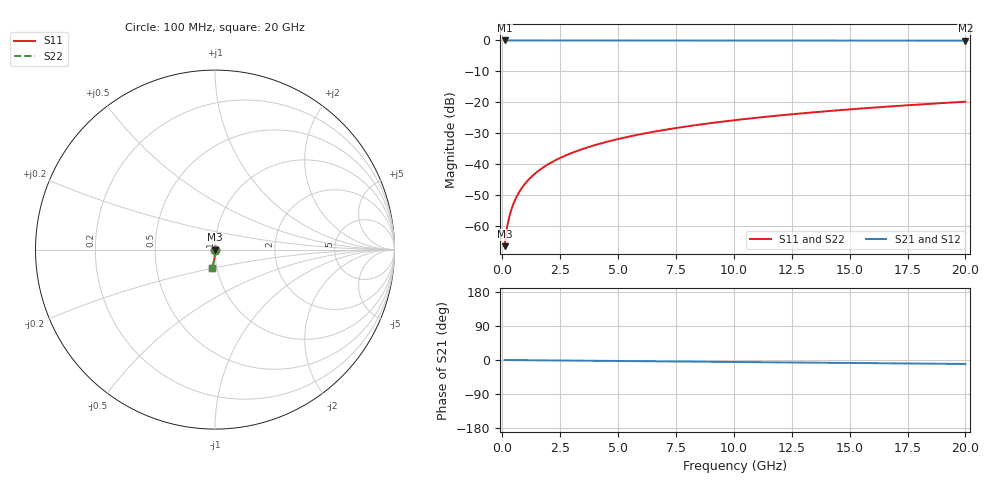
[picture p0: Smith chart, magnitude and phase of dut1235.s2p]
! Touchstone file exported from HFSS 2026.1.0
!  File:  C:/ffzhzh/LocalFiles/Ansys_Project_Files/temp_train_TSV_1235_1783193345_22436.aedt
!  Generated:  03:30:30 AM Jul  5, 2026
!  Design:  TSV
!  Project:  temp_train_TSV_1235_1783193345_22436
! Variables:
!  h_bsmrdl = 2um
!  h_ox = 20um
!  h_rdl = 5um
!  h_sub = 93.59um
!  h_tmrdl = 5um
!  h_tsv = 93.59um
!  h_via = 3um
!  l_bsmrdl = 300um
!  l_sub = 425.38um
!  l_tmrdl = 200um
!  m_sub = 200um
!  pitch = 32.07um
!  r_tsv = 12.69um
!  s_tmrdl = 10um
!  w_bsmrdl = 18um
!  w_sub = 500um
!  w_tmrdl = 12um
!  x_tsv_center1 = 206um
!  x_tsv_center2 = 524um
!  x_tsv_center3 = 736um
!  x_tsv_center4 = 1054um
!  x_tsv_center5 = 1266um
!  x_tsv_center6 = 1584um
# GHz S MA R 50.000000
! Terminal data exported
! Port[1] = TSV1_1_T1
! Port[2] = TSV1_1_T2
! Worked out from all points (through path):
!   200 points, 100 MHz to 20 GHz, reference 50 ohm
!   highest |S21| = 0.00 dB at 100 MHz (marker M1); lowest = -0.1 dB at 20 GHz (marker M2)
!   group delay of S21, straight-line fit = 1.45 ps
!   lowest |S11| = -66.7 dB at 100 MHz (marker M3), VSWR 1.00, Z = 50 - j0.045 ohm
!   |S11| at or under -10 dB: start of sweep to end of sweep
!   |S22| runs from -66.7 to -19.8 dB; largest |S21 - S12| = 3e-15
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0.1  0.0004644 -75.6  0.9999 -0.1  0.9999 -0.1  0.0004644 -75.6
! Gamma 0 0 0 0
! Port Impedance 50 0 50 0
0.2  0.0009162 -81.5  0.9999 -0.1  0.9999 -0.1  0.0009162 -81.5
0.3  0.001382 -83.2  0.9998 -0.2  0.9998 -0.2  0.001382 -83.2
0.4  0.001861 -83.9  0.9998 -0.2  0.9998 -0.2  0.001861 -83.9
0.5  0.00235 -84.4  0.9998 -0.3  0.9998 -0.3  0.00235 -84.4
0.7  0.003348 -85.2  0.9997 -0.4  0.9997 -0.4  0.003348 -85.2
0.8  0.003853 -85.5  0.9997 -0.4  0.9997 -0.4  0.003853 -85.5
1  0.004869 -86.1  0.9996 -0.5  0.9996 -0.5  0.004869 -86.1
1.2  0.005888 -86.6  0.9996 -0.6  0.9996 -0.6  0.005888 -86.6
1.4  0.006907 -87.1  0.9995 -0.7  0.9995 -0.7  0.006907 -87.1
1.7  0.008435 -87.7  0.9995 -0.9  0.9995 -0.9  0.008435 -87.7
2  0.009962 -88.2  0.9994 -1.1  0.9994 -1.1  0.009962 -88.2
2.7  0.01353 -89.0  0.9993 -1.4  0.9993 -1.4  0.01353 -89.0
3.5  0.0176 -89.8  0.9992 -1.9  0.9992 -1.9  0.0176 -89.8
4.2  0.02118 -90.3  0.9991 -2.2  0.9991 -2.2  0.02118 -90.3
5  0.02527 -90.9  0.9989 -2.6  0.9989 -2.6  0.02527 -90.9
6.8  0.03449 -92.1  0.9985 -3.6  0.9985 -3.6  0.03449 -92.1
8.3  0.04219 -93.0  0.9981 -4.4  0.9981 -4.4  0.04219 -93.0
10.1  0.05142 -94.0  0.9975 -5.3  0.9975 -5.3  0.05142 -94.0
13.4  0.06829 -95.9  0.9964 -7.0  0.9964 -7.0  0.06829 -95.9
16.7  0.08508 -97.7  0.9949 -8.7  0.9949 -8.7  0.08508 -97.7
20  0.1018 -99.5  0.9932 -10.4  0.9932 -10.4  0.1018 -99.5
